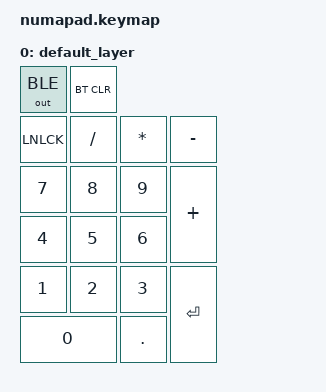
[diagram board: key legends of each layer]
/*
 * Copyright (c) 2020 The ZMK Contributors
 *
 * SPDX-License-Identifier: MIT
 */

#include <behaviors.dtsi>
#include <dt-bindings/zmk/keys.h>
#include <dt-bindings/zmk/outputs.h>
#include <dt-bindings/zmk/bt.h>

/ {
    keymap {
        compatible = "zmk,keymap";

        default_layer {
//|  m1  |  m2  |
//|  num |  /   |  *   |  -   |
//|  7   |  8   |  9   |
//|  4   |  5   |  6   |  +   |
//|  1   |  2   |  3   |
//|      0      |  .   |  enter|
            bindings = <
                &out OUT_BLE &bt BT_CLR
                &kp LNLCK &kp SLASH &kp ASTRK &kp MINUS
                &kp N7 &kp N8 &kp N9
                &kp N4 &kp N5 &kp N6 &kp PLUS
                &kp N1 &kp N2 &kp N3
                &kp N0 &kp PERIOD &kp ENTER
            >;
        };
    };
};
